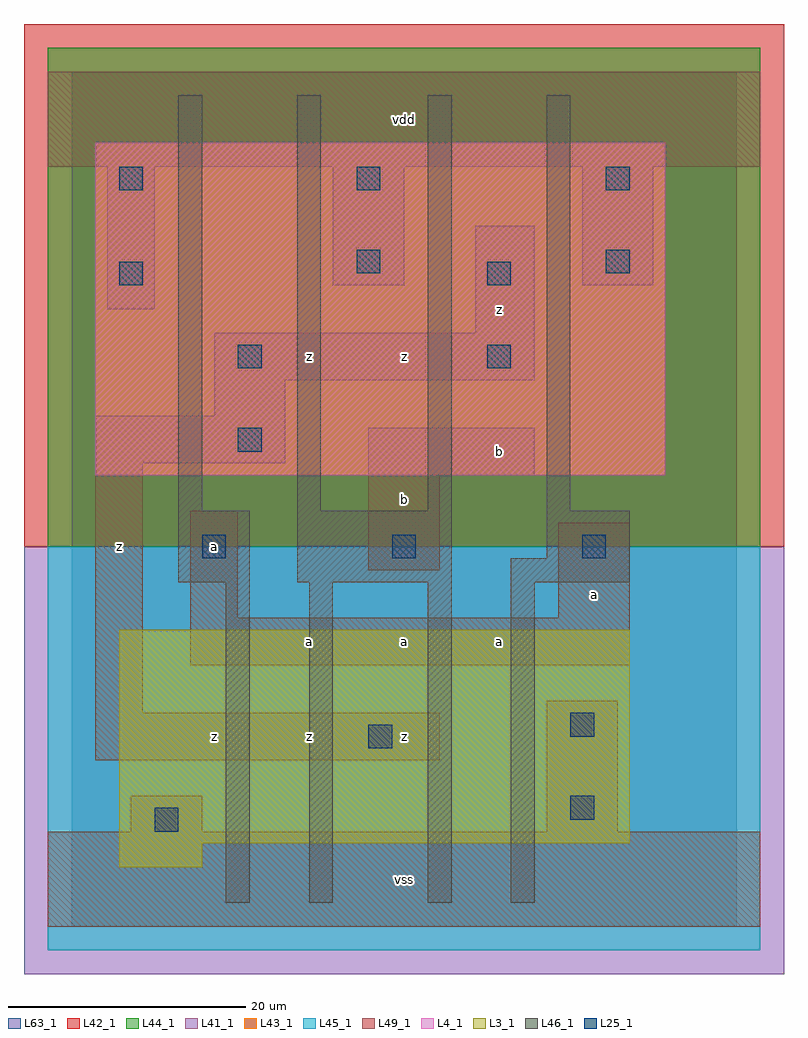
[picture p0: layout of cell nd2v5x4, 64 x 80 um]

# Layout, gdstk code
import gdstk
lib = gdstk.Library(unit=1e-6, precision=1e-09)
def R(c, l, rs):  # rectangles x0, y0, x1, y1
    for r in rs: c.add(gdstk.rectangle(r[:2], r[2:], *l))
def A(c, l, x, y, w, h, nx, ny, dx, dy):  # array of equal rectangles
    R(c, l, [(x+i*dx, y+j*dy, x+i*dx+w, y+j*dy+h) for i in range(nx) for j in range(ny)])
L3_1 = (3, 1)
L4_1 = (4, 1)
L25_1 = (25, 1)
L41_1 = (41, 1)
L42_1 = (42, 1)
L43_1 = (43, 1)
L44_1 = (44, 1)
L45_1 = (45, 1)
L46_1 = (46, 1)
L49_1 = (49, 1)
L63_1 = (63, 1)

nd2v5x4 = lib.new_cell('nd2v5x4')
R(nd2v5x4, L3_1, [(4,5,11,7), (4,7,47,25)])
R(nd2v5x4, L4_1, [(2,38,50,66)])
A(nd2v5x4, L25_1, 11, 31, 2, 2, 3, 1, 16, 0)
R(nd2v5x4, L25_1, [(7,8,9,10), (42,9,44,11), (25,15,27,17), (42,16,44,18), (14,40,16,42), (14,47,16,49), (35,47,37,49), (4,54,6,56), (35,54,37,56), (24,55,26,57), (45,55,47,57), (4,62,6,64), (24,62,26,64), (45,62,47,64)])
R(nd2v5x4, L41_1, [(-4,-4,60,32)])
R(nd2v5x4, L42_1, [(-4,32,60,76)])
R(nd2v5x4, L43_1, [(4,5,11,7), (4,7,47,25), (2,38,50,66)])
R(nd2v5x4, L44_1, [(-2,32,58,74)])
R(nd2v5x4, L45_1, [(-2,-2,58,32)])
R(nd2v5x4, L46_1, [(13,2,15,29), (20,2,22,29), (30,2,32,29), (37,2,39,29), (9,29,15,35), (19,29,32,35), (37,29,47,31), (40,31,47,35), (9,35,11,70), (19,35,21,70), (30,35,32,70), (40,35,42,70)])
R(nd2v5x4, L49_1, [(-2,0,58,8), (5,8,11,11), (40,8,46,19), (2,14,31,18), (2,18,6,39), (10,22,47,26), (10,26,14,35), (41,26,47,34), (25,30,31,38), (25,38,39,42), (2,39,18,43), (12,43,18,46), (12,46,39,50), (34,50,39,59), (3,52,7,64), (22,54,28,64), (43,54,49,64), (-2,64,58,72)])
R(nd2v5x4, L63_1, [(0,0,56,72)])
nd2v5x4.add(gdstk.Label('z', (4,32), layer=49, texttype=1))
nd2v5x4.add(gdstk.Label('z', (20,16), layer=49, texttype=1))
nd2v5x4.add(gdstk.Label('z', (12,16), layer=49, texttype=1))
nd2v5x4.add(gdstk.Label('a', (12,32), layer=49, texttype=1))
nd2v5x4.add(gdstk.Label('a', (20,24), layer=49, texttype=1))
nd2v5x4.add(gdstk.Label('z', (20,48), layer=49, texttype=1))
nd2v5x4.add(gdstk.Label('vss', (28,4), layer=49, texttype=1))
nd2v5x4.add(gdstk.Label('z', (28,16), layer=49, texttype=1))
nd2v5x4.add(gdstk.Label('a', (28,24), layer=49, texttype=1))
nd2v5x4.add(gdstk.Label('a', (36,24), layer=49, texttype=1))
nd2v5x4.add(gdstk.Label('b', (36,40), layer=49, texttype=1))
nd2v5x4.add(gdstk.Label('b', (28,36), layer=49, texttype=1))
nd2v5x4.add(gdstk.Label('z', (28,48), layer=49, texttype=1))
nd2v5x4.add(gdstk.Label('z', (36,52), layer=49, texttype=1))
nd2v5x4.add(gdstk.Label('vdd', (28,68), layer=49, texttype=1))
nd2v5x4.add(gdstk.Label('a', (44,28), layer=49, texttype=1))

lib.write_gds('nd2v5x4.gds')
